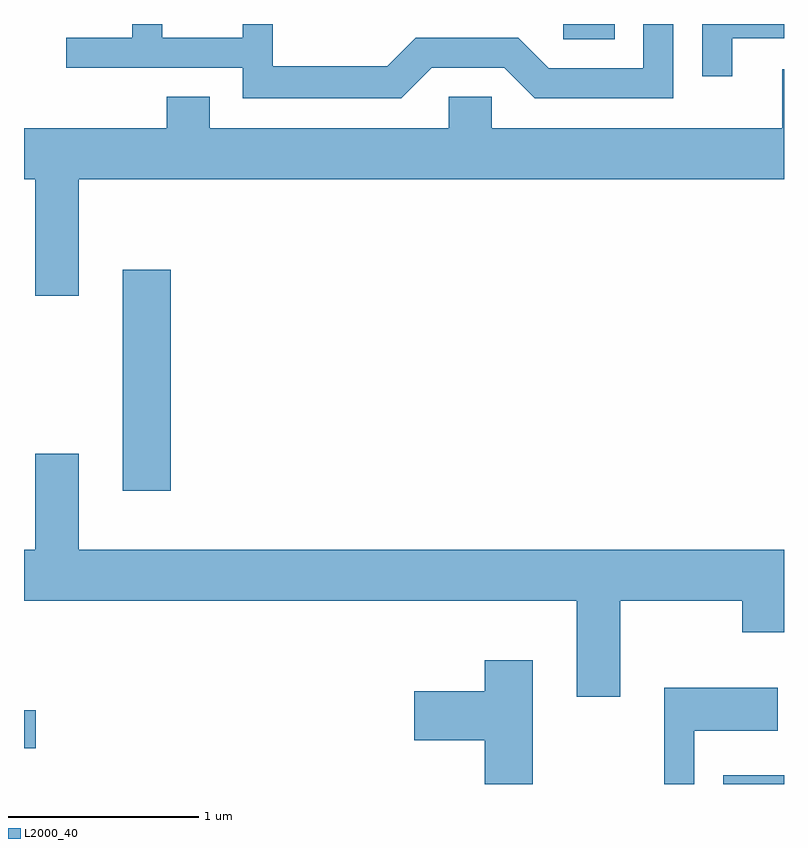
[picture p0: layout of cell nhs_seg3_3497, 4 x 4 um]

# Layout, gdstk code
import gdstk
lib = gdstk.Library(unit=1e-6, precision=1e-09)
def R(c, l, rs):  # rectangles x0, y0, x1, y1
    for r in rs: c.add(gdstk.rectangle(r[:2], r[2:], *l))
def P(c, l, *ps):  # polygons
    for p in ps: c.add(gdstk.Polygon(p, *l))
L2000_40 = (2000, 40)

nhs_seg3_3497 = lib.new_cell('nhs_seg3_3497')
R(nhs_seg3_3497, L2000_40, [(291.291,1173.892,291.611,1173.939), (287.611,1174.081,287.674,1174.279), (288.131,1175.436,288.384,1176.599), (290.448,1177.811,290.719,1177.892)])
P(nhs_seg3_3497, L2000_40, [(289.353,1177.892),(289.123,1177.892),(289.123,1177.891),(289.352,1177.891)],
  [(291.339,1177.816),(291.611,1177.816),(291.611,1177.892),(291.181,1177.892),(291.181,1177.618),(291.339,1177.618)],
  [(289.757,1177.661),(290.139,1177.661),(290.299,1177.501),(291.029,1177.501),(291.029,1177.892),(290.871,1177.892),(290.871,1177.659),(290.372,1177.659),(290.212,1177.819),(289.674,1177.819),(289.524,1177.669),(288.919,1177.669),(288.919,1177.892),(288.761,1177.892),(288.761,1177.819),(288.339,1177.819),(288.339,1177.892),(288.181,1177.892),(288.181,1177.819),(287.833,1177.819),(287.833,1177.661),(288.761,1177.661),(288.761,1177.501),(289.597,1177.501)],
  [(287.899,1177.076),(291.611,1177.076),(291.611,1177.654),(291.601,1177.654),(291.601,1177.344),(290.074,1177.344),(290.074,1177.509),(289.846,1177.509),(289.846,1177.344),(288.589,1177.344),(288.589,1177.509),(288.361,1177.509),(288.361,1177.344),(287.611,1177.344),(287.611,1177.076),(287.671,1177.076),(287.671,1176.461),(287.899,1176.461)],
  [(290.749,1174.856),(291.391,1174.856),(291.391,1174.691),(291.611,1174.691),(291.611,1175.124),(287.899,1175.124),(287.899,1175.629),(287.671,1175.629),(287.671,1175.124),(287.611,1175.124),(287.611,1174.856),(290.521,1174.856),(290.521,1174.351),(290.749,1174.351)],
  [(290.289,1174.544),(290.036,1174.544),(290.036,1174.379),(289.666,1174.379),(289.666,1174.121),(290.036,1174.121),(290.036,1173.892),(290.289,1173.892)],
  [(291.139,1174.171),(291.579,1174.171),(291.579,1174.399),(290.981,1174.399),(290.981,1173.892),(291.139,1173.892)])

lib.write_gds('nhs_seg3_3497.gds')
